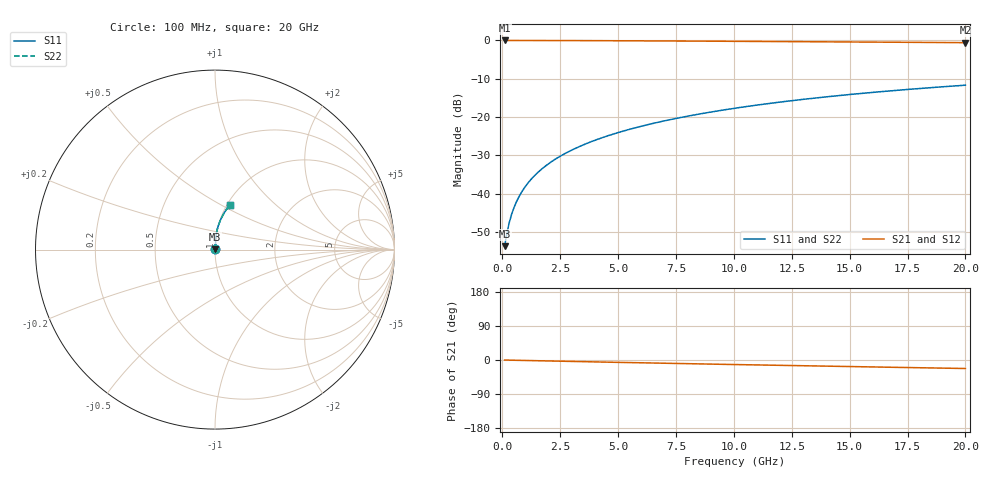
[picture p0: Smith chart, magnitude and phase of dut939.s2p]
! Touchstone file exported from HFSS 2024.1.0
!  File:  C:/UserFiles/LocalFiles/RDL_TSV_Batchsim/temp_RDL_bottom_939_1779941733.aedt
!  Generated:  12:18:13 PM May 28, 2026
!  Design:  RDL_bottom
!  Project:  temp_RDL_bottom_939_1779941733
!  Setup:  Setup1
!  Solution:  Sweep
! Variables:
!  dtsv = 10.80580581um
!  hbump = 3um
!  htsv = 90.66um
!  ldown = 257.25um
!  lrdl = 100um
!  p = 40
!  p1 = 55.69um
!  rhole = 1um
!  t = 450um
!  tdown = 3.28um
!  trdl = 3.915915916um
!  wdown = 19.77um
!  wrdl = 20um
# GHz S MA R 50.000000
! Terminal data exported
! Port[1] = RDL1_T1
! Port[2] = RDL1_T2
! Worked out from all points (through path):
!   200 points, 100 MHz to 20 GHz, reference 50 ohm
!   highest |S21| = -0.01 dB at 100 MHz (marker M1); lowest = -0.6 dB at 20 GHz (marker M2)
!   group delay of S21, straight-line fit = 3.09 ps
!   lowest |S11| = -53.6 dB at 100 MHz (marker M3), VSWR 1.00, Z = 50.2 + j0.131 ohm
!   |S11| at or under -10 dB: start of sweep to end of sweep
!   |S22| runs from -53.6 to -11.7 dB; largest |S21 - S12| = 2.6e-15
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0.1  0.002081 38.8  0.9984 -0.1  0.9984 -0.1  0.002081 38.8
! Gamma 0 0 0 0
! Port Impedance 50 0 50 0
0.2  0.003079 57.2  0.9983 -0.3  0.9983 -0.3  0.003079 57.2
0.3  0.004213 65.8  0.9982 -0.4  0.9982 -0.4  0.004213 65.8
0.4  0.005379 70.6  0.9982 -0.5  0.9982 -0.5  0.005379 70.6
0.5  0.006556 73.8  0.9981 -0.7  0.9981 -0.7  0.006556 73.8
0.6  0.007739 76.0  0.998 -0.8  0.998 -0.8  0.007739 76.0
0.8  0.01012 79.0  0.9979 -1.0  0.9979 -1.0  0.01012 79.0
1.1  0.01373 81.6  0.9976 -1.4  0.9976 -1.4  0.01373 81.6
1.5  0.01859 83.6  0.9972 -1.9  0.9972 -1.9  0.01859 83.6
1.8  0.02226 84.5  0.9968 -2.3  0.9968 -2.3  0.02226 84.5
2.1  0.02596 85.1  0.9964 -2.7  0.9964 -2.7  0.02596 85.1
2.7  0.03343 85.8  0.9954 -3.4  0.9954 -3.4  0.03343 85.8
3.5  0.04352 86.2  0.9938 -4.4  0.9938 -4.4  0.04352 86.2
4.2  0.05248 86.3  0.9921 -5.3  0.9921 -5.3  0.05248 86.3
5  0.06287 86.1  0.9899 -6.2  0.9899 -6.2  0.06287 86.1
5.9  0.07472 85.7  0.9872 -7.3  0.9872 -7.3  0.07472 85.7
6.8  0.08672 85.2  0.9844 -8.4  0.9844 -8.4  0.08672 85.2
8.4  0.1083 83.9  0.979 -10.2  0.979 -10.2  0.1083 83.9
10.1  0.1314 82.3  0.9729 -12.1  0.9729 -12.1  0.1314 82.3
13.4  0.1759 78.8  0.9607 -15.6  0.9607 -15.6  0.1759 78.8
16.7  0.2192 75.2  0.9479 -19.1  0.9479 -19.1  0.2192 75.2
20  0.2607 71.6  0.9344 -22.4  0.9344 -22.4  0.2608 71.6
